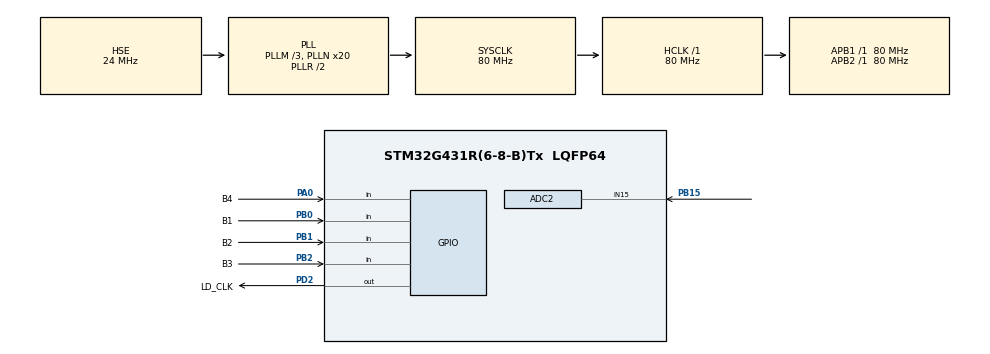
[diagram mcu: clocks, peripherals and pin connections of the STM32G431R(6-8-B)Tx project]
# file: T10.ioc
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ADC2.Channel-1\#ChannelRegularConversion=ADC_CHANNEL_15
ADC2.NbrOfConversionFlag=1
ADC2.OffsetNumber-1\#ChannelRegularConversion=ADC_OFFSET_NONE
ADC2.Rank-1\#ChannelRegularConversion=1
ADC2.SamplingTime-1\#ChannelRegularConversion=ADC_SAMPLETIME_2CYCLES_5
Mcu.Family=STM32G4
Mcu.Name=STM32G431R(6-8-B)Tx
Mcu.Package=LQFP64
NVIC.ADC1_2_IRQn=true\:0\:0\:false\:false\:true\:true\:true
NVIC.PriorityGroup=NVIC_PRIORITYGROUP_4
NVIC.TIM4_IRQn=true\:0\:0\:false\:false\:true\:true\:true
PA0.GPIO_Label=B4
PA0.Signal=GPIO_Input
PB0.GPIO_Label=B1
PB0.Signal=GPIO_Input
PB1.GPIO_Label=B2
PB1.Signal=GPIO_Input
PB15.Mode=IN15-Single-Ended
PB15.Signal=ADC2_IN15
PB2.GPIO_Label=B3
PB2.Signal=GPIO_Input
PD2.GPIO_Label=LD_CLK
PD2.Signal=GPIO_Output
PF0-OSC_IN.Mode=HSE-External-Oscillator
PF0-OSC_IN.Signal=RCC_OSC_IN
PF1-OSC_OUT.Mode=HSE-External-Oscillator
PF1-OSC_OUT.Signal=RCC_OSC_OUT
ProjectManager.HeapSize=0x200
ProjectManager.StackSize=0x400
ProjectManager.TargetToolchain=MDK-ARM V5.27
RCC.ADC12Freq_Value=80000000
RCC.AHBFreq_Value=80000000
RCC.APB1Freq_Value=80000000
RCC.APB1TimFreq_Value=80000000
RCC.APB2Freq_Value=80000000
RCC.APB2TimFreq_Value=80000000
RCC.CortexFreq_Value=80000000
RCC.EXTERNAL_CLOCK_VALUE=12288000
RCC.HCLKFreq_Value=80000000
RCC.HSE_VALUE=24000000
RCC.HSI48_VALUE=48000000
RCC.HSI_VALUE=16000000
RCC.LSE_VALUE=32768
RCC.PLLM=RCC_PLLM_DIV3
RCC.PLLN=20
RCC.PLLSourceVirtual=RCC_PLLSOURCE_HSE
RCC.SYSCLKFreq_VALUE=80000000
RCC.SYSCLKSource=RCC_SYSCLKSOURCE_PLLCLK
RCC.USBFreq_Value=80000000
RCC.VCOOutputFreq_Value=160000000
TIM4.PeriodNoDither=1000-1
TIM4.Prescaler=80-1
VP_SYS_VS_DBSignals.Mode=DisableDeadBatterySignals
VP_TIM4_VS_ClockSourceINT.Mode=Internal
board=custom

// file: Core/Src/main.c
/* USER CODE BEGIN Header */
/**
  ******************************************************************************
  * @file           : main.c
  * @brief          : Main program body
  ******************************************************************************
  * @attention
  *
  * <h2><center>&copy; Copyright (c) 2021 STMicroelectronics.
  * All rights reserved.</center></h2>
  *
  * This software component is licensed by ST under BSD 3-Clause license,
  * the "License"; You may not use this file except in compliance with the
  * License. You may obtain a copy of the License at:
  *                        opensource.org/licenses/BSD-3-Clause
  *
  ******************************************************************************
  */
/* USER CODE END Header */
#include "main.h"
#include "adc.h"
#include "tim.h"
#include "gpio.h"

/* USER CODE BEGIN Includes */
#include "lcd.h"
#include "stdio.h"
#include "string.h"
/* USER CODE END Includes */

/* USER CODE BEGIN PD */
#define DISPLAYVIEW 0
#define SETTINGVIEW 1
#define UPPER 0
#define LOEWER 1
#define NORMAL 2
#define MAXVOLTSE 1
#define MINVOLTSE 2
#define UPLDSE 3
#define LOLDSE 4
/* USER CODE END PD */

/* USER CODE BEGIN PM */
#define KB1 HAL_GPIO_ReadPin(B1_GPIO_Port, B1_Pin)
#define KB2 HAL_GPIO_ReadPin(B2_GPIO_Port, B2_Pin)
#define KB3 HAL_GPIO_ReadPin(B3_GPIO_Port, B3_Pin)
#define KB4 HAL_GPIO_ReadPin(B4_GPIO_Port, B4_Pin)
/* USER CODE END PM */

/* USER CODE BEGIN PV */
uint8_t ViewModel = 0;
_Bool Key_Flag = 0;//按键标志位
_Bool Led_Flag = 0;//LED标志位
_Bool Adc_Flag = 0;//ADC标志位
//显示界面
float Volt_Val;//检测的电压值
uint8_t Status_Val;//状态
//设置界面
uint8_t Setting_Index;

float Max_Volt_Val = 2.4;//电压值上限
float Min_Volt_Val = 1.2;//电压值下限
uint8_t Max_Led = 1;
uint8_t Min_Led = 2;

uint16_t Led_Val;
/* USER CODE END PV */

void SystemClock_Config(void);

/* USER CODE BEGIN 0 */
//操作LED
void TurnOff_LEDS()
{
	Led_Val = 0xFF00;
	HAL_GPIO_WritePin(LD_CLK_GPIO_Port, LD_CLK_Pin, GPIO_PIN_SET);
	GPIOC->ODR = (uint32_t)Led_Val;
	HAL_GPIO_WritePin(LD_CLK_GPIO_Port, LD_CLK_Pin, GPIO_PIN_RESET);
}
void TurnOn_LED(uint8_t i)
{
	Led_Val &= ~(0x01<<(7+i));
	HAL_GPIO_WritePin(LD_CLK_GPIO_Port, LD_CLK_Pin, GPIO_PIN_SET);
	GPIOC->ODR = (uint32_t)Led_Val;
	HAL_GPIO_WritePin(LD_CLK_GPIO_Port, LD_CLK_Pin, GPIO_PIN_RESET);
}
void TurnOff_LED(uint8_t i)
{
	Led_Val |= (0x01<<(7+i));
	HAL_GPIO_WritePin(LD_CLK_GPIO_Port, LD_CLK_Pin, GPIO_PIN_SET);
	GPIOC->ODR = (uint32_t)Led_Val;
	HAL_GPIO_WritePin(LD_CLK_GPIO_Port, LD_CLK_Pin, GPIO_PIN_RESET);
}
_Bool ledodd;
void Led_blink(uint8_t i)
{
	if(ledodd)
	{
		TurnOn_LED(i);
	}else{
		TurnOff_LED(i);
	}
	ledodd = !ledodd;
}
//读取ADC
float getADC()
{
	HAL_ADC_Start(&hadc2);
	return HAL_ADC_GetValue(&hadc2);
}
void Display()
{
	uint8_t buf[30];
	LCD_DisplayStringLine(Line1, (uint8_t *)"        Main   ");
	sprintf((char *)buf, "    Volt: %.2fV", Volt_Val);
	LCD_DisplayStringLine(Line3, (uint8_t *)buf);
	switch(Status_Val)
	{
		case UPPER:
			LCD_DisplayStringLine(Line4, (uint8_t *)"    Status: Upper ");
			break;
		case LOEWER:
			LCD_DisplayStringLine(Line4, (uint8_t *)"    Status: Lower ");
			break;
		case NORMAL:
			LCD_DisplayStringLine(Line4, (uint8_t *)"    Status: Normal");
			break;
	}
}
void Setting()
{
	uint8_t buf[30];
	LCD_SetTextColor(Blue2);
	LCD_DisplayStringLine(Line1, (uint8_t *)"        Setting   ");

	sprintf((char *)buf, "   Max Volt: %.2fV", Max_Volt_Val);
	if(Setting_Index == MAXVOLTSE){
		LCD_SetBackColor(Green);
		LCD_DisplayStringLine(Line2, (uint8_t *)buf);
		LCD_SetBackColor(White);
	}else{
		LCD_DisplayStringLine(Line2, (uint8_t *)buf);
	}

	sprintf((char *)buf, "   Min Volt: %.2fV", Min_Volt_Val);
	if(Setting_Index == MINVOLTSE){
		LCD_SetBackColor(Green);
		LCD_DisplayStringLine(Line3, (uint8_t *)buf);
		LCD_SetBackColor(White);
	}else{
		LCD_DisplayStringLine(Line3, (uint8_t *)buf);
	}

	sprintf((char *)buf, "   Upper: LD%d", Max_Led);
	if(Setting_Index == UPLDSE){
		LCD_SetBackColor(Green);
		LCD_DisplayStringLine(Line4, (uint8_t *)buf);
		LCD_SetBackColor(White);
	}else{
		LCD_DisplayStringLine(Line4, (uint8_t *)buf);
	}

	sprintf((char *)buf, "   Lower: LD%d", Min_Led);
	if(Setting_Index == LOLDSE){
		LCD_SetBackColor(Green);
		LCD_DisplayStringLine(Line5, (uint8_t *)buf);
		LCD_SetBackColor(White);
	}else{
		LCD_DisplayStringLine(Line5, (uint8_t *)buf);
	}
}
void Display_Proc()
{
	switch(ViewModel)
	{
		case DISPLAYVIEW:
			Display();
			break;
		case SETTINGVIEW:
			Setting();
			break;
	}
}
void Key_Proc()
{
	//按键1 用于界面的切换
	static uint8_t b1_sum;
	if(KB1 == 0)
	{
		b1_sum++;
		if(b1_sum == 1)
		{
			switch(ViewModel)
			{
				case DISPLAYVIEW:
					LCD_Clear(White);
					ViewModel = SETTINGVIEW;
				break;
				case SETTINGVIEW:
					LCD_Clear(White);
					ViewModel = DISPLAYVIEW;
				break;
			}
		}
	}else if(KB1 == 1)
	{
		b1_sum = 0;
	}

	//按键2 用于设置选项的切换
	static uint8_t b2_sum;
	if(KB2 == 0)
	{
		b2_sum++;
		if(b2_sum == 1)
		{
			if(ViewModel == SETTINGVIEW)
				Setting_Index = Setting_Index % 4 + 1;
		}
	}else if(KB2 == 1)
	{
		b2_sum = 0;
	}

	//按键3 用于选中项的加
	static uint8_t b3_sum;
	if(KB3 == 0)
	{
		b3_sum++;
		if(b3_sum == 1)
		{
			if(ViewModel == SETTINGVIEW)
			{
				switch(Setting_Index)
				{
					case MAXVOLTSE :
						{
							if((Max_Volt_Val > Min_Volt_Val) && (Max_Volt_Val + 0.3f <= 3.3f))
							{
								Max_Volt_Val += 0.3f;
							}
						}
						break;
					case MINVOLTSE :
						if((Min_Volt_Val +  0.4f < Max_Volt_Val) && (Min_Volt_Val >= 0.0f))
							{
								Min_Volt_Val += 0.3f;
							}
						break;
					case UPLDSE :
						if(Max_Led < 8)
						{
							TurnOff_LEDS();
							Max_Led++;
							if(Max_Led == Min_Led && Max_Led != 8)
								Max_Led++;
							else if(Max_Led == Min_Led && Max_Led == 8)
								Max_Led--;
						}
						break;
					case LOLDSE :
						if(Min_Led < 8)
						{
							TurnOff_LEDS();
							Min_Led++;
							if(Max_Led == Min_Led && Min_Led != 8)
								Min_Led++;
							else if(Max_Led == Min_Led && Min_Led == 8)
								Min_Led--;
						}
						break;
				}
			}
		}
	}else if(KB3 == 1)
	{
		b3_sum = 0;
	}

	//按键4 用于选中项的减
	static uint8_t b4_sum;
	if(KB4 == 0)
	{
		b4_sum++;
		if(b4_sum == 1)
		{
			if(ViewModel == SETTINGVIEW)
			{
				switch(Setting_Index)
				{
					case MAXVOLTSE :
						{
							if(Max_Volt_Val - 0.4f > Min_Volt_Val)
							{
								Max_Volt_Val -= 0.3f;
							}
						}
						break;
					case MINVOLTSE :
						if(Min_Volt_Val - 0.3f >= 0.0f)
							{
								Min_Volt_Val -= 0.3f;
							}
						break;
					case UPLDSE :
						if(Max_Led > 1)
						{
							TurnOff_LEDS();
							Max_Led--;
							if(Max_Led == Min_Led && Max_Led != 1)
								Max_Led--;
							else if(Max_Led == Min_Led && Max_Led == 1)
								Max_Led++;
						}
						break;
					case LOLDSE :
						if(Min_Led > 1)
						{
							TurnOff_LEDS();
							Min_Led--;
							if(Max_Led == Min_Led && Min_Led != 1)
								Min_Led--;
							else if(Max_Led == Min_Led && Min_Led == 1)
								Min_Led++;
						}
						break;
				}
			}
		}
	}else if(KB4 == 1)
	{
		b4_sum = 0;
	}
}

/* USER CODE END 0 */

int main(void)
{

  /* MCU Configuration--------------------------------------------------------*/

  /* Reset of all peripherals, Initializes the Flash interface and the Systick. */
  HAL_Init();

  /* Configure the system clock */
  SystemClock_Config();

  /* Initialize all configured peripherals */
  MX_GPIO_Init();
  MX_TIM4_Init();
  MX_ADC2_Init();
  /* USER CODE BEGIN 2 */
	//初始化LCD
	LCD_Init();
	LCD_Clear(White);
	LCD_SetBackColor(White);
	LCD_SetTextColor(Blue2);
	//关闭LED
	TurnOff_LEDS();
  /* USER CODE END 2 */
	HAL_ADCEx_Calibration_Start(&hadc2, ADC_SINGLE_ENDED);
	HAL_TIM_Base_Start_IT(&htim4);
  /* Infinite loop */
  /* USER CODE BEGIN WHILE */
  while (1)
  {
		Display_Proc();
    /* USER CODE END WHILE */

    /* USER CODE BEGIN 3 */
		if(Key_Flag)
		{
			Key_Flag = 0;
			Key_Proc();
		}
		if(Led_Flag)
		{
			Led_Flag = 0;
			if(Volt_Val > Max_Volt_Val)
			{
				Led_blink(Max_Led);
				Status_Val = UPPER;
			}else if(Volt_Val < Min_Volt_Val)
			{
				Led_blink(Min_Led);
				Status_Val = LOEWER;
			}else{
				TurnOff_LEDS();
				Status_Val = NORMAL;
			}
		}
		if(Adc_Flag)
		{
			Adc_Flag = 0;
			Volt_Val = getADC() / 4095.0f * 3.3f;
		}
  }
  /* USER CODE END 3 */
}

void SystemClock_Config(void)
{
  RCC_OscInitTypeDef RCC_OscInitStruct = {0};
  RCC_ClkInitTypeDef RCC_ClkInitStruct = {0};
  RCC_PeriphCLKInitTypeDef PeriphClkInit = {0};

  /** Configure the main internal regulator output voltage
  */
  HAL_PWREx_ControlVoltageScaling(PWR_REGULATOR_VOLTAGE_SCALE1);
  /** Initializes the RCC Oscillators according to the specified parameters
  * in the RCC_OscInitTypeDef structure.
  */
  RCC_OscInitStruct.OscillatorType = RCC_OSCILLATORTYPE_HSE;
  RCC_OscInitStruct.HSEState = RCC_HSE_ON;
  RCC_OscInitStruct.PLL.PLLState = RCC_PLL_ON;
  RCC_OscInitStruct.PLL.PLLSource = RCC_PLLSOURCE_HSE;
  RCC_OscInitStruct.PLL.PLLM = RCC_PLLM_DIV3;
  RCC_OscInitStruct.PLL.PLLN = 20;
  RCC_OscInitStruct.PLL.PLLP = RCC_PLLP_DIV2;
  RCC_OscInitStruct.PLL.PLLQ = RCC_PLLQ_DIV2;
  RCC_OscInitStruct.PLL.PLLR = RCC_PLLR_DIV2;
  if (HAL_RCC_OscConfig(&RCC_OscInitStruct) != HAL_OK)
  {
    Error_Handler();
  }
  /** Initializes the CPU, AHB and APB buses clocks
  */
  RCC_ClkInitStruct.ClockType = RCC_CLOCKTYPE_HCLK|RCC_CLOCKTYPE_SYSCLK
                              |RCC_CLOCKTYPE_PCLK1|RCC_CLOCKTYPE_PCLK2;
  RCC_ClkInitStruct.SYSCLKSource = RCC_SYSCLKSOURCE_PLLCLK;
  RCC_ClkInitStruct.AHBCLKDivider = RCC_SYSCLK_DIV1;
  RCC_ClkInitStruct.APB1CLKDivider = RCC_HCLK_DIV1;
  RCC_ClkInitStruct.APB2CLKDivider = RCC_HCLK_DIV1;

  if (HAL_RCC_ClockConfig(&RCC_ClkInitStruct, FLASH_LATENCY_2) != HAL_OK)
  {
    Error_Handler();
  }
  /** Initializes the peripherals clocks
  */
  PeriphClkInit.PeriphClockSelection = RCC_PERIPHCLK_ADC12;
  PeriphClkInit.Adc12ClockSelection = RCC_ADC12CLKSOURCE_SYSCLK;
  if (HAL_RCCEx_PeriphCLKConfig(&PeriphClkInit) != HAL_OK)
  {
    Error_Handler();
  }
}

/* USER CODE BEGIN 4 */
void HAL_TIM_PeriodElapsedCallback(TIM_HandleTypeDef *htim)
{
	HAL_TIM_Base_Start_IT(&htim4);
	static uint8_t key_count;
	static uint8_t led_count;
	static uint16_t adc_count;
	if(htim->Instance == TIM4)
	{
		if(++key_count == 10)
		{
			key_count = 0;
			Key_Flag = 1;
		}
		if(++led_count == 200)
		{
			led_count = 0;
			Led_Flag = 1;
		}
		if(++adc_count == 500)
		{
			adc_count = 0;
			Adc_Flag = 1;
		}
	}
}
/* USER CODE END 4 */

void Error_Handler(void)
{
  __disable_irq();
  while (1)
  {
  }
}

/************************ (C) COPYRIGHT STMicroelectronics *****END OF FILE****/
